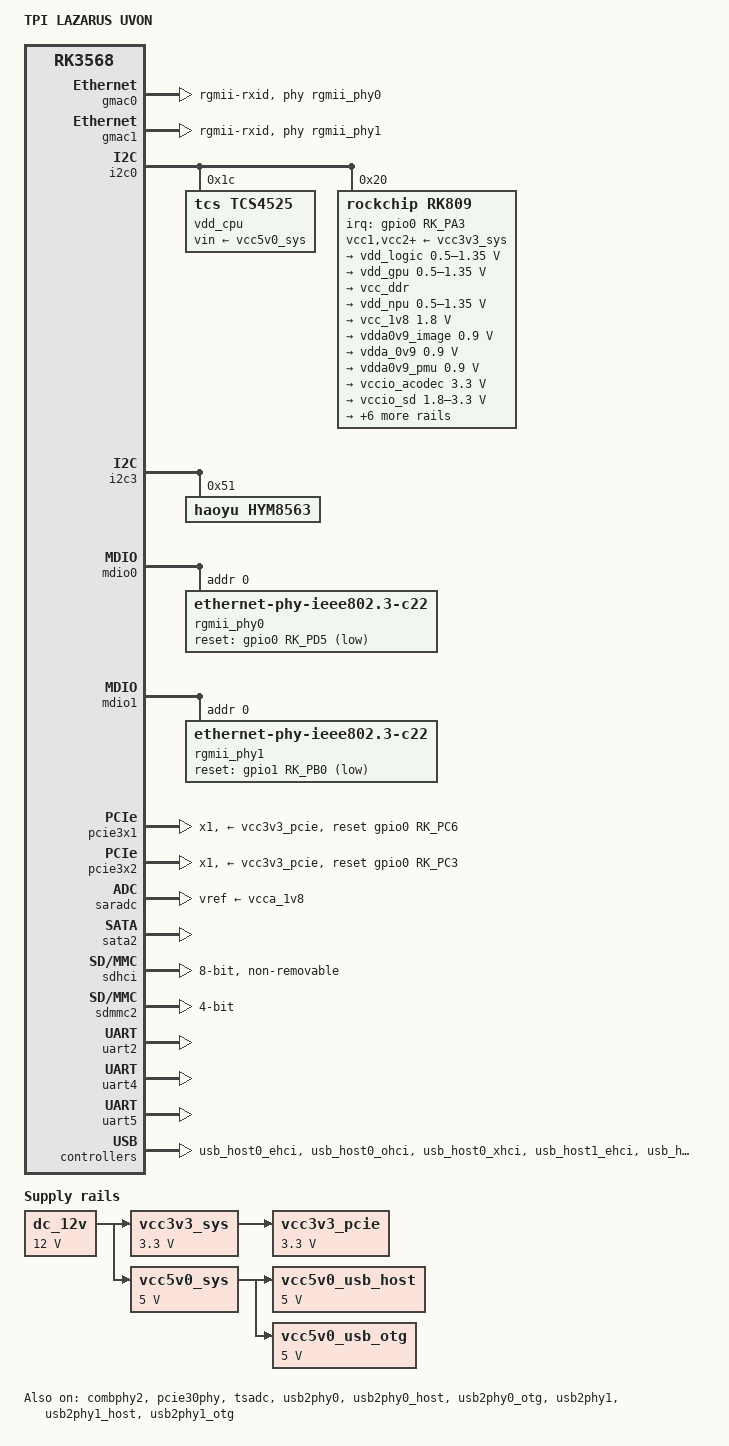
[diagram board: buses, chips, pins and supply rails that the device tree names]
// SPDX-License-Identifier: (GPL-2.0+ OR MIT)
/*
 * TPI LAZARUS/UVON carrier with a Forlinx FET3568-C SoM.
 *
 * Copyright (c) 2026 Tech Pro Industries LLC
 *
 * Для апстримного ядра Linux. Описание составлено по схеме Э3 и сверено с
 * заводским device tree Forlinx: задержки RGMII, сбросы PHY, тактирование MAC
 * и набор реле RK809 взяты оттуда без изменений.
 *
 * Плата работает без дисплея, поэтому VOP, HDMI, DSI, звук и GPU здесь не
 * описаны: SoC-узлы остаются в состоянии по умолчанию из rk3568.dtsi.
 */

/dts-v1/;

#include <dt-bindings/gpio/gpio.h>
#include <dt-bindings/interrupt-controller/irq.h>
#include <dt-bindings/pinctrl/rockchip.h>
#include "rk3568.dtsi"

/ {
	model = "TPI LAZARUS UVON";
	compatible = "tpi,lazarus-uvon", "forlinx,fet3568-c", "rockchip,rk3568";

	aliases {
		ethernet0 = &gmac1;
		ethernet1 = &gmac0;
		mmc0 = &sdhci;
		mmc1 = &sdmmc2;
		rtc0 = &hym8563;
		serial2 = &uart2;
	};

	chosen {
		stdout-path = "serial2:115200n8";
	};

	firmware {
		optee {
			compatible = "linaro,optee-tz";
			method = "smc";
		};
	};

	reserved-memory {
		#address-cells = <2>;
		#size-cells = <2>;
		ranges;

		/*
		 * BL32. TF-A поднимает OP-TEE 3.13 до старта ядра и оставляет его
		 * резидентным; без этой резервации ядро затирает secure-мир и падает
		 * на SError в copy_page.
		 */
		optee@8400000 {
			reg = <0x0 0x08400000 0x0 0x01000000>;
			no-map;
		};
	};

	dc_12v: regulator-dc-12v {
		compatible = "regulator-fixed";
		regulator-name = "dc_12v";
		regulator-always-on;
		regulator-boot-on;
		regulator-min-microvolt = <12000000>;
		regulator-max-microvolt = <12000000>;
	};

	vcc3v3_sys: regulator-vcc3v3-sys {
		compatible = "regulator-fixed";
		regulator-name = "vcc3v3_sys";
		regulator-always-on;
		regulator-boot-on;
		regulator-min-microvolt = <3300000>;
		regulator-max-microvolt = <3300000>;
		vin-supply = <&dc_12v>;
	};

	vcc5v0_sys: regulator-vcc5v0-sys {
		compatible = "regulator-fixed";
		regulator-name = "vcc5v0_sys";
		regulator-always-on;
		regulator-boot-on;
		regulator-min-microvolt = <5000000>;
		regulator-max-microvolt = <5000000>;
		vin-supply = <&dc_12v>;
	};

	/*
	 * Питание USB на этом carrier'е безусловное: выводы, которыми им
	 * управляет EVB, здесь заняты PCIE30X2_CLKREQn_M0 и PCIE20_CLKREQn_M0.
	 */
	vcc5v0_usb_host: regulator-vcc5v0-usb-host {
		compatible = "regulator-fixed";
		regulator-name = "vcc5v0_usb_host";
		regulator-always-on;
		regulator-boot-on;
		regulator-min-microvolt = <5000000>;
		regulator-max-microvolt = <5000000>;
		vin-supply = <&vcc5v0_sys>;
	};

	vcc5v0_usb_otg: regulator-vcc5v0-usb-otg {
		compatible = "regulator-fixed";
		regulator-name = "vcc5v0_usb_otg";
		regulator-always-on;
		regulator-boot-on;
		regulator-min-microvolt = <5000000>;
		regulator-max-microvolt = <5000000>;
		vin-supply = <&vcc5v0_sys>;
	};

	vcc3v3_pcie: regulator-vcc3v3-pcie {
		compatible = "regulator-fixed";
		regulator-name = "vcc3v3_pcie";
		regulator-always-on;
		regulator-boot-on;
		regulator-min-microvolt = <3300000>;
		regulator-max-microvolt = <3300000>;
		vin-supply = <&vcc3v3_sys>;
	};
};

&combphy2 {
	status = "okay";
};

&cpu0 {
	cpu-supply = <&vdd_cpu>;
};

&cpu1 {
	cpu-supply = <&vdd_cpu>;
};

&cpu2 {
	cpu-supply = <&vdd_cpu>;
};

&cpu3 {
	cpu-supply = <&vdd_cpu>;
};

/* Порт с маркировкой ETH0 на корпусе. */
&gmac0 {
	assigned-clocks = <&cru SCLK_GMAC0_RX_TX>, <&cru SCLK_GMAC0>,
			  <&cru CLK_MAC0_OUT>;
	assigned-clock-parents = <&cru SCLK_GMAC0_RGMII_SPEED>;
	assigned-clock-rates = <0>, <125000000>, <25000000>;
	clock_in_out = "output";
	phy-handle = <&rgmii_phy0>;
	phy-mode = "rgmii-rxid";
	pinctrl-names = "default";
	pinctrl-0 = <&gmac0_miim
		     &gmac0_tx_bus2
		     &gmac0_rx_bus2
		     &gmac0_rgmii_clk
		     &gmac0_rgmii_bus>;
	tx_delay = <0x3e>;
	rx_delay = <0x34>;
	status = "okay";
};

/* Порт ETH1, на нём поднимается основная сеть. */
&gmac1 {
	assigned-clocks = <&cru SCLK_GMAC1_RX_TX>, <&cru SCLK_GMAC1>,
			  <&cru CLK_MAC1_OUT>;
	assigned-clock-parents = <&cru SCLK_GMAC1_RGMII_SPEED>;
	assigned-clock-rates = <0>, <125000000>, <25000000>;
	clock_in_out = "output";
	phy-handle = <&rgmii_phy1>;
	phy-mode = "rgmii-rxid";
	pinctrl-names = "default";
	pinctrl-0 = <&gmac1m1_miim
		     &gmac1m1_tx_bus2
		     &gmac1m1_rx_bus2
		     &gmac1m1_rgmii_clk
		     &gmac1m1_rgmii_bus>;
	tx_delay = <0x4d>;
	rx_delay = <0x2d>;
	status = "okay";
};

&i2c0 {
	status = "okay";

	vdd_cpu: regulator@1c {
		compatible = "tcs,tcs4525";
		reg = <0x1c>;
		fcs,suspend-voltage-selector = <1>;
		regulator-name = "vdd_cpu";
		regulator-always-on;
		regulator-boot-on;
		regulator-min-microvolt = <800000>;
		regulator-max-microvolt = <1150000>;
		regulator-ramp-delay = <2300>;
		vin-supply = <&vcc5v0_sys>;

		regulator-state-mem {
			regulator-off-in-suspend;
		};
	};

	rk809: pmic@20 {
		compatible = "rockchip,rk809";
		reg = <0x20>;
		interrupt-parent = <&gpio0>;
		interrupts = <RK_PA3 IRQ_TYPE_LEVEL_LOW>;
		pinctrl-names = "default";
		pinctrl-0 = <&pmic_int>;
		rockchip,system-power-controller;
		#clock-cells = <1>;
		clock-output-names = "rk809-clkout1", "rk809-clkout2";
		wakeup-source;

		vcc1-supply = <&vcc3v3_sys>;
		vcc2-supply = <&vcc3v3_sys>;
		vcc3-supply = <&vcc3v3_sys>;
		vcc4-supply = <&vcc3v3_sys>;
		vcc5-supply = <&vcc3v3_sys>;
		vcc6-supply = <&vcc3v3_sys>;
		vcc7-supply = <&vcc3v3_sys>;
		vcc8-supply = <&vcc3v3_sys>;
		vcc9-supply = <&vcc3v3_sys>;

		regulators {
			vdd_logic: DCDC_REG1 {
				regulator-name = "vdd_logic";
				regulator-always-on;
				regulator-boot-on;
				regulator-init-microvolt = <900000>;
				regulator-initial-mode = <0x2>;
				regulator-min-microvolt = <500000>;
				regulator-max-microvolt = <1350000>;
				regulator-ramp-delay = <6001>;

				regulator-state-mem {
					regulator-off-in-suspend;
				};
			};

			vdd_gpu: DCDC_REG2 {
				regulator-name = "vdd_gpu";
				regulator-always-on;
				regulator-init-microvolt = <900000>;
				regulator-initial-mode = <0x2>;
				regulator-min-microvolt = <500000>;
				regulator-max-microvolt = <1350000>;
				regulator-ramp-delay = <6001>;

				regulator-state-mem {
					regulator-off-in-suspend;
				};
			};

			vcc_ddr: DCDC_REG3 {
				regulator-name = "vcc_ddr";
				regulator-always-on;
				regulator-boot-on;
				regulator-initial-mode = <0x2>;

				regulator-state-mem {
					regulator-on-in-suspend;
				};
			};

			vdd_npu: DCDC_REG4 {
				regulator-name = "vdd_npu";
				regulator-init-microvolt = <900000>;
				regulator-initial-mode = <0x2>;
				regulator-min-microvolt = <500000>;
				regulator-max-microvolt = <1350000>;
				regulator-ramp-delay = <6001>;

				regulator-state-mem {
					regulator-off-in-suspend;
				};
			};

			vcc_1v8: DCDC_REG5 {
				regulator-name = "vcc_1v8";
				regulator-always-on;
				regulator-boot-on;
				regulator-min-microvolt = <1800000>;
				regulator-max-microvolt = <1800000>;

				regulator-state-mem {
					regulator-off-in-suspend;
				};
			};

			vdda0v9_image: LDO_REG1 {
				regulator-name = "vdda0v9_image";
				regulator-min-microvolt = <900000>;
				regulator-max-microvolt = <900000>;

				regulator-state-mem {
					regulator-off-in-suspend;
				};
			};

			vdda_0v9: LDO_REG2 {
				regulator-name = "vdda_0v9";
				regulator-always-on;
				regulator-boot-on;
				regulator-min-microvolt = <900000>;
				regulator-max-microvolt = <900000>;

				regulator-state-mem {
					regulator-off-in-suspend;
				};
			};

			vdda0v9_pmu: LDO_REG3 {
				regulator-name = "vdda0v9_pmu";
				regulator-always-on;
				regulator-boot-on;
				regulator-min-microvolt = <900000>;
				regulator-max-microvolt = <900000>;

				regulator-state-mem {
					regulator-on-in-suspend;
					regulator-suspend-microvolt = <900000>;
				};
			};

			vccio_acodec: LDO_REG4 {
				regulator-name = "vccio_acodec";
				regulator-always-on;
				regulator-boot-on;
				regulator-min-microvolt = <3300000>;
				regulator-max-microvolt = <3300000>;

				regulator-state-mem {
					regulator-off-in-suspend;
				};
			};

			vccio_sd: LDO_REG5 {
				regulator-name = "vccio_sd";
				regulator-always-on;
				regulator-boot-on;
				regulator-min-microvolt = <1800000>;
				regulator-max-microvolt = <3300000>;

				regulator-state-mem {
					regulator-off-in-suspend;
				};
			};

			vcc3v3_pmu: LDO_REG6 {
				regulator-name = "vcc3v3_pmu";
				regulator-always-on;
				regulator-boot-on;
				regulator-min-microvolt = <3300000>;
				regulator-max-microvolt = <3300000>;

				regulator-state-mem {
					regulator-on-in-suspend;
					regulator-suspend-microvolt = <3300000>;
				};
			};

			vcca_1v8: LDO_REG7 {
				regulator-name = "vcca_1v8";
				regulator-always-on;
				regulator-boot-on;
				regulator-min-microvolt = <1800000>;
				regulator-max-microvolt = <1800000>;

				regulator-state-mem {
					regulator-off-in-suspend;
				};
			};

			vcca1v8_pmu: LDO_REG8 {
				regulator-name = "vcca1v8_pmu";
				regulator-always-on;
				regulator-boot-on;
				regulator-min-microvolt = <1800000>;
				regulator-max-microvolt = <1800000>;

				regulator-state-mem {
					regulator-on-in-suspend;
					regulator-suspend-microvolt = <1800000>;
				};
			};

			vcca1v8_image: LDO_REG9 {
				regulator-name = "vcca1v8_image";
				regulator-min-microvolt = <1800000>;
				regulator-max-microvolt = <1800000>;

				regulator-state-mem {
					regulator-off-in-suspend;
				};
			};

			vcc_3v3: SWITCH_REG1 {
				regulator-name = "vcc_3v3";
				regulator-always-on;
				regulator-boot-on;

				regulator-state-mem {
					regulator-off-in-suspend;
				};
			};

			vcc3v3_sd: SWITCH_REG2 {
				regulator-name = "vcc3v3_sd";
				regulator-always-on;

				regulator-state-mem {
					regulator-off-in-suspend;
				};
			};
		};
	};
};

/* RTC carrier'а сидит на i2c3, мультиплексор m0. */
&i2c3 {
	pinctrl-names = "default";
	pinctrl-0 = <&i2c3m0_xfer>;
	status = "okay";

	hym8563: rtc@51 {
		compatible = "haoyu,hym8563";
		reg = <0x51>;
		#clock-cells = <0>;
		clock-output-names = "hym8563";
	};
};

&mdio0 {
	rgmii_phy0: ethernet-phy@0 {
		compatible = "ethernet-phy-ieee802.3-c22";
		reg = <0x0>;
		reset-assert-us = <20000>;
		reset-deassert-us = <100000>;
		reset-gpios = <&gpio0 RK_PD5 GPIO_ACTIVE_LOW>;
	};
};

&mdio1 {
	rgmii_phy1: ethernet-phy@0 {
		compatible = "ethernet-phy-ieee802.3-c22";
		reg = <0x0>;
		reset-assert-us = <20000>;
		reset-deassert-us = <100000>;
		reset-gpios = <&gpio1 RK_PB0 GPIO_ACTIVE_LOW>;
	};
};

/*
 * Два Realtek RTL8111H на carrier'е, по одному на линию PCIe 3.0.
 *
 * Во-первых, PHY надо явно развести на две линии: без data-lanes драйвер
 * агрегирует обе в pcie3x2, и тогда не обучается ни одна ссылка
 * ("Phy link never came up").
 *
 * Во-вторых, линии PERST# приходится скрестить относительно их имён в схеме.
 * По схеме GPIO0_C3 это PCIE30X1_PERSTn_M0 и идёт к карте на линии 0, а
 * GPIO0_C6 — PCIE30X2_PERSTn_M0 к карте на линии 1; заводской драйвер так их и
 * расписывает. Апстримный же в режиме разделения сажает pcie3x1 на линию 1, а
 * pcie3x2 на линию 0, то есть наоборот. Проверено на плате: с "прямой"
 * раскладкой поднимается только один линк, с этой — оба.
 */
&pcie30phy {
	data-lanes = <1 2>;
	status = "okay";
};

&pcie3x1 {
	num-lanes = <1>;
	reset-gpios = <&gpio0 RK_PC6 GPIO_ACTIVE_HIGH>;
	vpcie3v3-supply = <&vcc3v3_pcie>;
	status = "okay";
};

&pcie3x2 {
	num-lanes = <1>;
	reset-gpios = <&gpio0 RK_PC3 GPIO_ACTIVE_HIGH>;
	vpcie3v3-supply = <&vcc3v3_pcie>;
	status = "okay";
};

&pinctrl {
	pmic {
		pmic_int: pmic-int {
			rockchip,pins = <0 RK_PA3 RK_FUNC_GPIO &pcfg_pull_up>;
		};
	};
};

&pmu_io_domains {
	pmuio1-supply = <&vcc3v3_pmu>;
	pmuio2-supply = <&vcc3v3_pmu>;
	vccio1-supply = <&vccio_acodec>;
	vccio3-supply = <&vccio_sd>;
	vccio4-supply = <&vcc_1v8>;
	vccio5-supply = <&vcc_3v3>;
	vccio6-supply = <&vcc_1v8>;
	vccio7-supply = <&vcc_3v3>;
	status = "okay";
};

&saradc {
	vref-supply = <&vcca_1v8>;
	status = "okay";
};

/* SATA2 через COMBPHY2, диск с ОС. */
&sata2 {
	status = "okay";
};

/* eMMC на SoM: здесь лежит заводская система. */
&sdhci {
	bus-width = <8>;
	max-frequency = <200000000>;
	non-removable;
	pinctrl-names = "default";
	pinctrl-0 = <&emmc_bus8 &emmc_clk &emmc_cmd &emmc_datastrobe>;
	status = "okay";
};

/*
 * microSD carrier'а. Она на SDMMC2, а BootROM RK3568 грузится только с
 * SDMMC0, поэтому карта пригодна для данных, но не для загрузки.
 */
&sdmmc2 {
	bus-width = <4>;
	cap-sd-highspeed;
	disable-wp;
	max-frequency = <150000000>;
	pinctrl-names = "default";
	pinctrl-0 = <&sdmmc2m1_bus4 &sdmmc2m1_clk &sdmmc2m1_cmd &sdmmc2m1_det>;
	status = "okay";
};

&tsadc {
	rockchip,hw-tshut-mode = <1>;
	rockchip,hw-tshut-polarity = <0>;
	status = "okay";
};

/* Консоль платы. */
&uart2 {
	status = "okay";
};

/* Два свободных порта на разъёме carrier'а. */
&uart4 {
	pinctrl-names = "default";
	pinctrl-0 = <&uart4m1_xfer>;
	status = "okay";
};

&uart5 {
	pinctrl-names = "default";
	pinctrl-0 = <&uart5m1_xfer>;
	status = "okay";
};

&usb_host0_ehci {
	status = "okay";
};

&usb_host0_ohci {
	status = "okay";
};

&usb_host0_xhci {
	extcon = <&usb2phy0>;
	status = "okay";
};

&usb_host1_ehci {
	status = "okay";
};

&usb_host1_ohci {
	status = "okay";
};

&usb_host1_xhci {
	status = "okay";
};

&usb2phy0 {
	status = "okay";
};

&usb2phy0_host {
	phy-supply = <&vcc5v0_usb_host>;
	status = "okay";
};

&usb2phy0_otg {
	phy-supply = <&vcc5v0_usb_otg>;
	status = "okay";
};

&usb2phy1 {
	status = "okay";
};

&usb2phy1_host {
	phy-supply = <&vcc5v0_usb_host>;
	status = "okay";
};

&usb2phy1_otg {
	phy-supply = <&vcc5v0_usb_host>;
	status = "okay";
};
